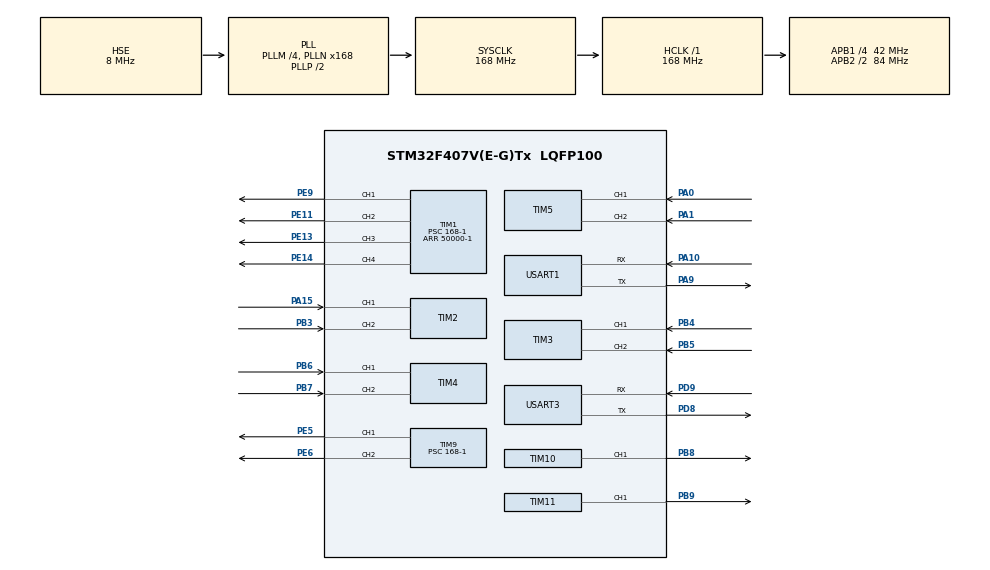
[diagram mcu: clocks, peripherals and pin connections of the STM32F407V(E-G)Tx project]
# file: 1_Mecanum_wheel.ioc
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Mcu.Family=STM32F4
Mcu.Name=STM32F407V(E-G)Tx
Mcu.Package=LQFP100
NVIC.PriorityGroup=NVIC_PRIORITYGROUP_4
NVIC.TIM2_IRQn=true\:0\:0\:false\:false\:true\:true\:true\:true
NVIC.TIM3_IRQn=true\:0\:0\:false\:false\:true\:true\:true\:true
NVIC.TIM4_IRQn=true\:0\:0\:false\:false\:true\:true\:true\:true
NVIC.TIM5_IRQn=true\:0\:0\:false\:false\:true\:true\:true\:true
NVIC.TIM6_DAC_IRQn=true\:0\:0\:false\:false\:true\:true\:true\:true
PA0-WKUP.Signal=S_TIM5_CH1
PA1.Signal=S_TIM5_CH2
PA10.Mode=Asynchronous
PA10.Signal=USART1_RX
PA13.Mode=Serial_Wire
PA13.Signal=SYS_JTMS-SWDIO
PA14.Mode=Serial_Wire
PA14.Signal=SYS_JTCK-SWCLK
PA15.Signal=S_TIM2_CH1_ETR
PA9.Mode=Asynchronous
PA9.Signal=USART1_TX
PB3.Signal=S_TIM2_CH2
PB4.Signal=S_TIM3_CH1
PB5.Signal=S_TIM3_CH2
PB6.Signal=S_TIM4_CH1
PB7.Signal=S_TIM4_CH2
PB8.Signal=S_TIM10_CH1
PB9.Signal=S_TIM11_CH1
PD8.Mode=Asynchronous
PD8.Signal=USART3_TX
PD9.Mode=Asynchronous
PD9.Signal=USART3_RX
PE11.Signal=S_TIM1_CH2
PE13.Signal=S_TIM1_CH3
PE14.Signal=S_TIM1_CH4
PE5.Signal=S_TIM9_CH1
PE6.Signal=S_TIM9_CH2
PE9.Signal=S_TIM1_CH1
PH0-OSC_IN.Mode=HSE-External-Oscillator
PH0-OSC_IN.Signal=RCC_OSC_IN
PH1-OSC_OUT.Mode=HSE-External-Oscillator
PH1-OSC_OUT.Signal=RCC_OSC_OUT
ProjectManager.HeapSize=0x200
ProjectManager.StackSize=0x400
ProjectManager.TargetToolchain=Makefile
RCC.48MHZClocksFreq_Value=84000000
RCC.AHBFreq_Value=168000000
RCC.APB1CLKDivider=RCC_HCLK_DIV4
RCC.APB1Freq_Value=42000000
RCC.APB1TimFreq_Value=84000000
RCC.APB2CLKDivider=RCC_HCLK_DIV2
RCC.APB2Freq_Value=84000000
RCC.APB2TimFreq_Value=168000000
RCC.CortexFreq_Value=168000000
RCC.HCLKFreq_Value=168000000
RCC.HSE_VALUE=8000000
RCC.HSI_VALUE=16000000
RCC.LSE_VALUE=32768
RCC.PLLM=4
RCC.PLLN=168
RCC.PLLSourceVirtual=RCC_PLLSOURCE_HSE
RCC.SYSCLKFreq_VALUE=168000000
RCC.SYSCLKSource=RCC_SYSCLKSOURCE_PLLCLK
RCC.VCOOutputFreq_Value=336000000
SH.S_TIM10_CH1.0=TIM10_CH1,PWM Generation1 CH1
SH.S_TIM11_CH1.0=TIM11_CH1,PWM Generation1 CH1
SH.S_TIM1_CH1.0=TIM1_CH1,PWM Generation1 CH1
SH.S_TIM1_CH2.0=TIM1_CH2,PWM Generation2 CH2
SH.S_TIM1_CH3.0=TIM1_CH3,PWM Generation3 CH3
SH.S_TIM1_CH4.0=TIM1_CH4,PWM Generation4 CH4
SH.S_TIM2_CH1_ETR.0=TIM2_CH1,Encoder_Interface
SH.S_TIM2_CH2.0=TIM2_CH2,Encoder_Interface
SH.S_TIM3_CH1.0=TIM3_CH1,Encoder_Interface
SH.S_TIM3_CH2.0=TIM3_CH2,Encoder_Interface
SH.S_TIM4_CH1.0=TIM4_CH1,Encoder_Interface
SH.S_TIM4_CH2.0=TIM4_CH2,Encoder_Interface
SH.S_TIM5_CH1.0=TIM5_CH1,Encoder_Interface
SH.S_TIM5_CH2.0=TIM5_CH2,Encoder_Interface
SH.S_TIM9_CH1.0=TIM9_CH1,PWM Generation1 CH1
SH.S_TIM9_CH2.0=TIM9_CH2,PWM Generation2 CH2
TIM1.Channel-PWM\ Generation1\ CH1=TIM_CHANNEL_1
TIM1.Channel-PWM\ Generation2\ CH2=TIM_CHANNEL_2
TIM1.Channel-PWM\ Generation3\ CH3=TIM_CHANNEL_3
TIM1.Channel-PWM\ Generation4\ CH4=TIM_CHANNEL_4
TIM1.Period=50000-1
TIM1.Prescaler=168-1
TIM10.Channel=TIM_CHANNEL_1
TIM10.Period=50000-1
TIM10.Prescaler=168-1
TIM11.Channel=TIM_CHANNEL_1
TIM11.Period=50000-1
TIM11.Prescaler=168-1
TIM2.EncoderMode=TIM_ENCODERMODE_TI12
TIM3.EncoderMode=TIM_ENCODERMODE_TI12
TIM4.EncoderMode=TIM_ENCODERMODE_TI12
TIM5.EncoderMode=TIM_ENCODERMODE_TI12
TIM6.Period=5000-1
TIM6.Prescaler=168-1
TIM9.Channel-PWM\ Generation1\ CH1=TIM_CHANNEL_1
TIM9.Channel-PWM\ Generation2\ CH2=TIM_CHANNEL_2
TIM9.Period=50000-1
TIM9.Prescaler=168-1
USART1.VirtualMode=VM_ASYNC
USART3.VirtualMode=VM_ASYNC
VP_TIM10_VS_ClockSourceINT.Mode=Enable_Timer
VP_TIM11_VS_ClockSourceINT.Mode=Enable_Timer
VP_TIM1_VS_ClockSourceINT.Mode=Internal
VP_TIM6_VS_ClockSourceINT.Mode=Enable_Timer
VP_TIM9_VS_ClockSourceINT.Mode=Internal
board=custom

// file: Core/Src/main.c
/* USER CODE BEGIN Header */
/**
 ******************************************************************************
 * @file           : main.c
 * @brief          : Main program body
 ******************************************************************************
 * @attention
 *
 * Copyright (c) 2023 STMicroelectronics.
 * All rights reserved.
 *
 * This software is licensed under terms that can be found in the LICENSE file
 * in the root directory of this software component.
 * If no LICENSE file comes with this software, it is provided AS-IS.
 *
 ******************************************************************************
 */
/* USER CODE END Header */
#include "main.h"
#include "tim.h"
#include "usart.h"
#include "gpio.h"

/* USER CODE BEGIN Includes */
#include "mecanum_chassis.h"
#include <stdio.h>
/* USER CODE END Includes */

void SystemClock_Config(void);

/* USER CODE BEGIN 0 */
float vx;
float vy;
float wc;
/* USER CODE END 0 */

int main(void)
{

    /* MCU Configuration--------------------------------------------------------*/

    /* Reset of all peripherals, Initializes the Flash interface and the Systick. */
    HAL_Init();

    /* Configure the system clock */
    SystemClock_Config();

    /* Initialize all configured peripherals */
    MX_GPIO_Init();
    MX_TIM1_Init();
    MX_TIM2_Init();
    MX_TIM3_Init();
    MX_TIM4_Init();
    MX_TIM5_Init();
    MX_TIM6_Init();
    MX_TIM9_Init();
    MX_TIM10_Init();
    MX_TIM11_Init();
    MX_USART1_UART_Init();
    MX_USART3_UART_Init();
    /* USER CODE BEGIN 2 */
    Motor_Init(&motor1, 1, 70, 1, 0.1);
    Motor_Init(&motor2, 2, 70, 1, 0.1);
    Motor_Init(&motor3, 3, 70, 1, 0.1);
    Motor_Init(&motor4, 4, 70, 1, 0.1);
    Motor_Start(&motor1);
    Motor_Start(&motor2);
    Motor_Start(&motor3);
    Motor_Start(&motor4);
    Inverse_kinematic_equation(0.0, 0.0, -0.1);
    /* USER CODE END 2 */

    /* Infinite loop */
    while (1) {

        /* USER CODE BEGIN 3 */
        Forward_kinematic_equation(&vx,&vy,&wc);
        printf("%.2f\r\n", wc);
    }
    /* USER CODE END 3 */
}

void SystemClock_Config(void)
{
    RCC_OscInitTypeDef RCC_OscInitStruct = {0};
    RCC_ClkInitTypeDef RCC_ClkInitStruct = {0};

    /** Configure the main internal regulator output voltage
     */
    __HAL_RCC_PWR_CLK_ENABLE();
    __HAL_PWR_VOLTAGESCALING_CONFIG(PWR_REGULATOR_VOLTAGE_SCALE1);

    /** Initializes the RCC Oscillators according to the specified parameters
     * in the RCC_OscInitTypeDef structure.
     */
    RCC_OscInitStruct.OscillatorType = RCC_OSCILLATORTYPE_HSE;
    RCC_OscInitStruct.HSEState       = RCC_HSE_ON;
    RCC_OscInitStruct.PLL.PLLState   = RCC_PLL_ON;
    RCC_OscInitStruct.PLL.PLLSource  = RCC_PLLSOURCE_HSE;
    RCC_OscInitStruct.PLL.PLLM       = 4;
    RCC_OscInitStruct.PLL.PLLN       = 168;
    RCC_OscInitStruct.PLL.PLLP       = RCC_PLLP_DIV2;
    RCC_OscInitStruct.PLL.PLLQ       = 4;
    if (HAL_RCC_OscConfig(&RCC_OscInitStruct) != HAL_OK) {
        Error_Handler();
    }

    /** Initializes the CPU, AHB and APB buses clocks
     */
    RCC_ClkInitStruct.ClockType      = RCC_CLOCKTYPE_HCLK | RCC_CLOCKTYPE_SYSCLK | RCC_CLOCKTYPE_PCLK1 | RCC_CLOCKTYPE_PCLK2;
    RCC_ClkInitStruct.SYSCLKSource   = RCC_SYSCLKSOURCE_PLLCLK;
    RCC_ClkInitStruct.AHBCLKDivider  = RCC_SYSCLK_DIV1;
    RCC_ClkInitStruct.APB1CLKDivider = RCC_HCLK_DIV4;
    RCC_ClkInitStruct.APB2CLKDivider = RCC_HCLK_DIV2;

    if (HAL_RCC_ClockConfig(&RCC_ClkInitStruct, FLASH_LATENCY_5) != HAL_OK) {
        Error_Handler();
    }
}

void Error_Handler(void)
{
    __disable_irq();
    while (1) {
    }
}
